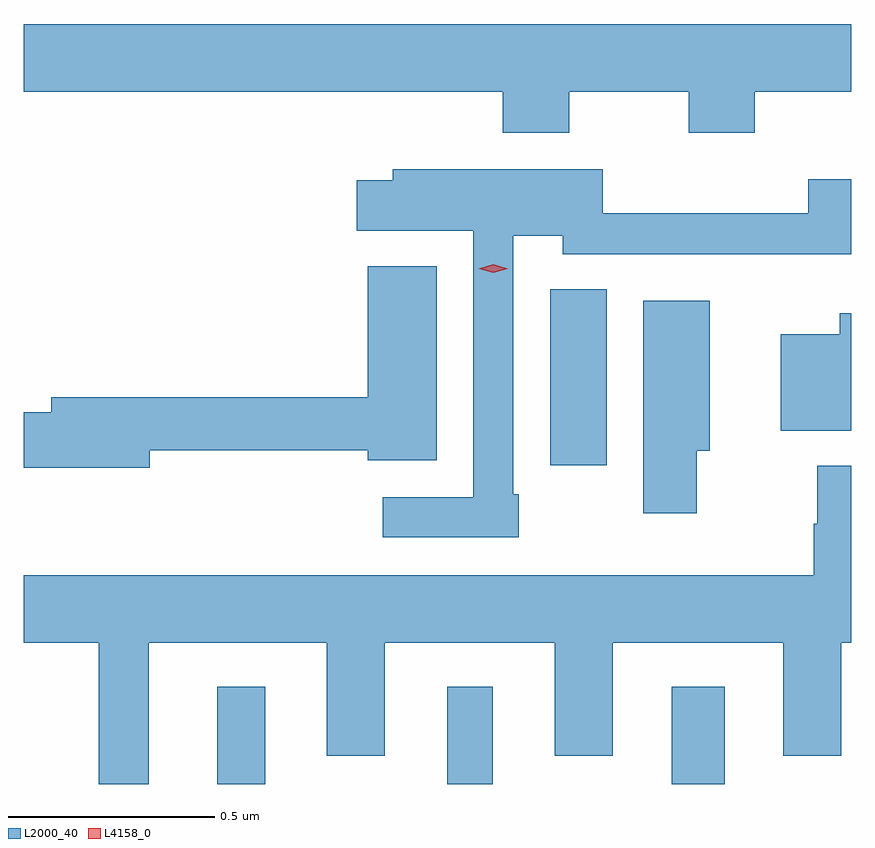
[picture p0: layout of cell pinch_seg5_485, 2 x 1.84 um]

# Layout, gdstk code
import gdstk
lib = gdstk.Library(unit=1e-6, precision=1e-09)
def R(c, l, rs):  # rectangles x0, y0, x1, y1
    for r in rs: c.add(gdstk.rectangle(r[:2], r[2:], *l))
def P(c, l, *ps):  # polygons
    for p in ps: c.add(gdstk.Polygon(p, *l))
L2000_40 = (2000, 40)
L4158_0 = (4158, 0)

pinch_seg5_485 = lib.new_cell('pinch_seg5_485')
R(pinch_seg5_485, L2000_40, [(945.329,847.095,945.445,847.33), (945.884,847.095,945.994,847.33), (946.427,847.095,946.555,847.33), (946.133,847.866,946.27,848.291)])
P(pinch_seg5_485, L2000_40, [(946.179,848.768),(946.468,848.768),(946.468,848.669),(946.628,848.669),(946.628,848.768),(946.861,848.768),(946.861,848.932),(944.861,848.932),(944.861,848.768),(946.019,848.768),(946.019,848.669),(946.179,848.669)],
  [(946.057,847.795),(946.044,847.795),(946.044,848.42),(946.164,848.42),(946.164,848.376),(946.673,848.376),(946.673,848.375),(946.861,848.375),(946.861,848.557),(946.757,848.557),(946.757,848.474),(946.26,848.474),(946.26,848.581),(945.753,848.581),(945.753,848.554),(945.666,848.554),(945.666,848.432),(945.948,848.432),(945.948,847.788),(945.729,847.788),(945.729,847.692),(946.057,847.692)],
  [(945.166,847.902),(945.692,847.902),(945.692,847.877),(945.859,847.877),(945.859,848.347),(945.692,848.347),(945.692,848.03),(944.927,848.03),(944.927,847.994),(944.861,847.994),(944.861,847.859),(945.166,847.859)],
  [(946.488,847.901),(946.519,847.901),(946.519,848.263),(946.358,848.263),(946.358,847.749),(946.488,847.749)],
  [(946.861,848.233),(946.833,848.233),(946.833,848.182),(946.691,848.182),(946.691,847.949),(946.861,847.949)],
  [(945.163,847.436),(945.593,847.436),(945.593,847.163),(945.733,847.163),(945.733,847.436),(946.145,847.436),(946.145,847.163),(946.285,847.163),(946.285,847.436),(946.697,847.436),(946.697,847.163),(946.837,847.163),(946.837,847.436),(946.861,847.436),(946.861,847.864),(946.779,847.864),(946.779,847.724),(946.771,847.724),(946.771,847.6),(944.861,847.6),(944.861,847.436),(945.042,847.436),(945.042,847.095),(945.163,847.095)])
P(pinch_seg5_485, L4158_0, [(945.996,848.331),(945.961,848.341),(945.961,848.341),(945.961,848.341),(945.996,848.351),(946.031,848.341),(946.031,848.341),(946.031,848.341)])

lib.write_gds('pinch_seg5_485.gds')
